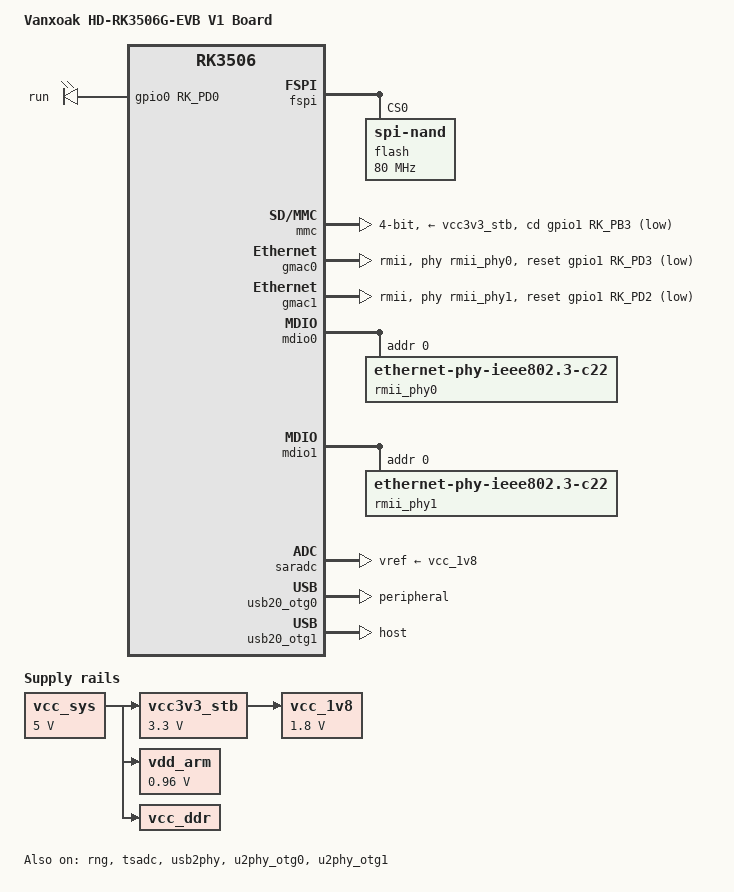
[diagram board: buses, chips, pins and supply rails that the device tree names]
// SPDX-License-Identifier: (GPL-2.0+ OR MIT)
/*
 * Copyright (c) 2024 Rockchip Electronics Co., Ltd.
 * Vanxoak HD-RK3506G-EVB V1 Board
 */

/dts-v1/;

#include "rk3506.dtsi"

/ {
	model = "Vanxoak HD-RK3506G-EVB V1 Board";
	compatible = "vanxoak,hd-rk3506g-evb", "rockchip,rk3506";

	chosen {
		bootargs = "earlycon=uart8250,mmio32,0xff0a0000 console=ttyFIQ0";
	};

	fiq_debugger: fiq-debugger {
		compatible = "rockchip,fiq-debugger";
		rockchip,serial-id = <0>;
		rockchip,wake-irq = <0>;
		rockchip,irq-mode-enable = <1>;
		rockchip,baudrate = <1500000>;
		interrupts = <GIC_SPI 115 IRQ_TYPE_LEVEL_HIGH>;
	};

	leds {
		compatible = "gpio-leds";
		status = "okay";

		heart_led {
			label = "run";
			gpios = <&gpio0 RK_PD0 GPIO_ACTIVE_HIGH>;
			linux,default-trigger = "heartbeat";
		};
	};

	vcc_sys: vcc-sys {
		compatible = "regulator-fixed";
		regulator-name = "vcc_sys";
		regulator-always-on;
		regulator-boot-on;
		regulator-min-microvolt = <5000000>;
		regulator-max-microvolt = <5000000>;
	};

	vcc3v3_stb: vcc3v3-stb {
		compatible = "regulator-fixed";
		regulator-name = "vcc3v3_stb";
		regulator-always-on;
		regulator-boot-on;
		regulator-min-microvolt = <3300000>;
		regulator-max-microvolt = <3300000>;
		vin-supply = <&vcc_sys>;
	};

	vcc_1v8: vcc-1v8 {
		compatible = "regulator-fixed";
		regulator-name = "vcc_1v8";
		regulator-always-on;
		regulator-boot-on;
		regulator-min-microvolt = <1800000>;
		regulator-max-microvolt = <1800000>;
		vin-supply = <&vcc3v3_stb>;
	};

	vdd_arm: vdd-arm {
		compatible = "regulator-fixed";
		regulator-name = "vdd_arm";
		regulator-min-microvolt = <960000>;
		regulator-max-microvolt = <960000>;
		regulator-always-on;
		regulator-boot-on;
		vin-supply = <&vcc_sys>;
	};

	vcc_ddr: vcc-ddr {
		compatible = "regulator-fixed";
		regulator-name = "vcc_ddr";
		regulator-always-on;
		regulator-boot-on;
		vin-supply = <&vcc_sys>;
	};
};

&cpu0 {
	cpu-supply = <&vdd_arm>;
};

&fspi {
	status = "okay";

	flash@0 {
		compatible = "spi-nand";
		reg = <0>;
		spi-max-frequency = <80000000>;
		spi-rx-bus-width = <4>;
		spi-tx-bus-width = <1>;
	};
};

&mmc {
	max-frequency = <150000000>;
	supports-sd;
	bus-width = <4>;
	cd-gpios = <&gpio1 RK_PB3 GPIO_ACTIVE_LOW>;
	cap-sd-highspeed;
	disable-wp;
	vmmc-supply = <&vcc3v3_stb>;
	vqmmc-supply = <&vcc3v3_stb>;
	pinctrl-names = "default";
	pinctrl-0 = <&sdmmc_clk_pins &sdmmc_cmd_pins &sdmmc_bus4_pins>;
	status = "okay";
};

&gmac0 {
	phy-mode = "rmii";
	clock_in_out = "input";
	snps,reset-gpio = <&gpio1 RK_PD3 GPIO_ACTIVE_LOW>;
	snps,reset-active-low;
	snps,reset-delays-us = <0 20000 100000>;
	pinctrl-names = "default";
	pinctrl-0 = <&eth_rmii0_miim_pins
		     &eth_rmii0_tx_bus2_pins
		     &eth_rmii0_rx_bus2_pins
		     &eth_rmii0_clk_pins>;
	phy-handle = <&rmii_phy0>;
	status = "okay";
};

&gmac1 {
	phy-mode = "rmii";
	clock_in_out = "input";
	snps,reset-gpio = <&gpio1 RK_PD2 GPIO_ACTIVE_LOW>;
	snps,reset-active-low;
	snps,reset-delays-us = <0 20000 100000>;
	pinctrl-names = "default";
	pinctrl-0 = <&eth_rmii1_miim_pins
		     &eth_rmii1_tx_bus2_pins
		     &eth_rmii1_rx_bus2_pins
		     &eth_rmii1_clk_pins>;
	phy-handle = <&rmii_phy1>;
	status = "okay";
};

&mdio0 {
	rmii_phy0: phy@0 {
		compatible = "ethernet-phy-ieee802.3-c22";
		reg = <0x0>;
		clocks = <&cru CLK_MAC_OUT>;
		assigned-clocks = <&cru CLK_MAC_OUT>;
		assigned-clock-rates = <25000000>;
	};
};

&mdio1 {
	rmii_phy1: phy@0 {
		compatible = "ethernet-phy-ieee802.3-c22";
		reg = <0x0>;
		clocks = <&cru CLK_MAC_OUT>;
		assigned-clocks = <&cru CLK_MAC_OUT>;
		assigned-clock-rates = <25000000>;
	};
};

&rng {
	status = "okay";
};

&saradc {
	vref-supply = <&vcc_1v8>;
	status = "okay";
};

&tsadc {
	status = "okay";
};

&usb2phy {
	status = "okay";
};

&u2phy_otg0 {
	status = "okay";
};

&u2phy_otg1 {
	status = "okay";
};

&usb20_otg0 {
	dr_mode = "peripheral";
	status = "okay";
};

&usb20_otg1 {
	dr_mode = "host";
	status = "okay";
};
